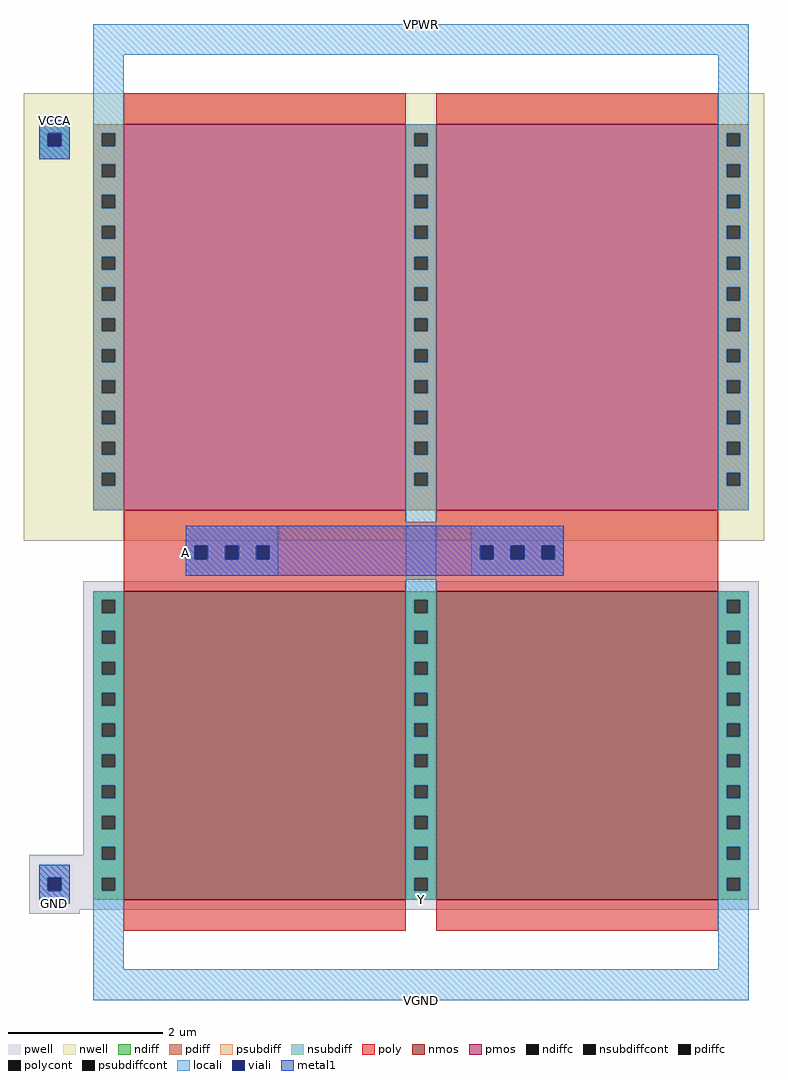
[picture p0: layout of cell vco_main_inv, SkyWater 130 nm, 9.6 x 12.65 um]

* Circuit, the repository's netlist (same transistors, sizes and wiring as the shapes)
* NGSPICE file created from vco_main_inv.ext - technology: sky130A

.subckt vco_main_inv A VPWR VGND Y VCCA GND
X0 VPWR A Y VCCA sky130_fd_pr__pfet_01v8 ad=2 pd=10.8 as=1 ps=5.4 w=5 l=3.65 M=2
X1 Y A VGND GND sky130_fd_pr__nfet_01v8 ad=0.8 pd=4.4 as=1.6 ps=8.8 w=4 l=3.65 M=2
.ends

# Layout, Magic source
magic
tech sky130A
magscale 1 2
<< nwell >>
rect -260 -80 1660 1080
<< pwell >>
rect -106 -894 1646 -184
rect -246 -1036 1646 -894
rect -246 -1046 -114 -1036
<< nmos >>
rect 0 -1010 730 -210
rect 810 -1010 1540 -210
<< pmos >>
rect 0 0 730 1000
rect 810 0 1540 1000
<< ndiff >>
rect -80 -233 0 -210
rect -80 -267 -57 -233
rect -23 -267 0 -233
rect -80 -313 0 -267
rect -80 -347 -57 -313
rect -23 -347 0 -313
rect -80 -393 0 -347
rect -80 -427 -57 -393
rect -23 -427 0 -393
rect -80 -473 0 -427
rect -80 -507 -57 -473
rect -23 -507 0 -473
rect -80 -553 0 -507
rect -80 -587 -57 -553
rect -23 -587 0 -553
rect -80 -633 0 -587
rect -80 -667 -57 -633
rect -23 -667 0 -633
rect -80 -713 0 -667
rect -80 -747 -57 -713
rect -23 -747 0 -713
rect -80 -793 0 -747
rect -80 -827 -57 -793
rect -23 -827 0 -793
rect -80 -873 0 -827
rect -80 -907 -57 -873
rect -23 -907 0 -873
rect -80 -953 0 -907
rect -80 -987 -57 -953
rect -23 -987 0 -953
rect -80 -1010 0 -987
rect 730 -233 810 -210
rect 730 -267 753 -233
rect 787 -267 810 -233
rect 730 -313 810 -267
rect 730 -347 753 -313
rect 787 -347 810 -313
rect 730 -393 810 -347
rect 730 -427 753 -393
rect 787 -427 810 -393
rect 730 -473 810 -427
rect 730 -507 753 -473
rect 787 -507 810 -473
rect 730 -553 810 -507
rect 730 -587 753 -553
rect 787 -587 810 -553
rect 730 -633 810 -587
rect 730 -667 753 -633
rect 787 -667 810 -633
rect 730 -713 810 -667
rect 730 -747 753 -713
rect 787 -747 810 -713
rect 730 -793 810 -747
rect 730 -827 753 -793
rect 787 -827 810 -793
rect 730 -873 810 -827
rect 730 -907 753 -873
rect 787 -907 810 -873
rect 730 -953 810 -907
rect 730 -987 753 -953
rect 787 -987 810 -953
rect 730 -1010 810 -987
rect 1540 -233 1620 -210
rect 1540 -267 1563 -233
rect 1597 -267 1620 -233
rect 1540 -313 1620 -267
rect 1540 -347 1563 -313
rect 1597 -347 1620 -313
rect 1540 -393 1620 -347
rect 1540 -427 1563 -393
rect 1597 -427 1620 -393
rect 1540 -473 1620 -427
rect 1540 -507 1563 -473
rect 1597 -507 1620 -473
rect 1540 -553 1620 -507
rect 1540 -587 1563 -553
rect 1597 -587 1620 -553
rect 1540 -633 1620 -587
rect 1540 -667 1563 -633
rect 1597 -667 1620 -633
rect 1540 -713 1620 -667
rect 1540 -747 1563 -713
rect 1597 -747 1620 -713
rect 1540 -793 1620 -747
rect 1540 -827 1563 -793
rect 1597 -827 1620 -793
rect 1540 -873 1620 -827
rect 1540 -907 1563 -873
rect 1597 -907 1620 -873
rect 1540 -953 1620 -907
rect 1540 -987 1563 -953
rect 1597 -987 1620 -953
rect 1540 -1010 1620 -987
<< pdiff >>
rect -80 977 0 1000
rect -80 943 -57 977
rect -23 943 0 977
rect -80 897 0 943
rect -80 863 -57 897
rect -23 863 0 897
rect -80 817 0 863
rect -80 783 -57 817
rect -23 783 0 817
rect -80 737 0 783
rect -80 703 -57 737
rect -23 703 0 737
rect -80 657 0 703
rect -80 623 -57 657
rect -23 623 0 657
rect -80 577 0 623
rect -80 543 -57 577
rect -23 543 0 577
rect -80 497 0 543
rect -80 463 -57 497
rect -23 463 0 497
rect -80 417 0 463
rect -80 383 -57 417
rect -23 383 0 417
rect -80 337 0 383
rect -80 303 -57 337
rect -23 303 0 337
rect -80 257 0 303
rect -80 223 -57 257
rect -23 223 0 257
rect -80 177 0 223
rect -80 143 -57 177
rect -23 143 0 177
rect -80 97 0 143
rect -80 63 -57 97
rect -23 63 0 97
rect -80 0 0 63
rect 730 977 810 1000
rect 730 943 753 977
rect 787 943 810 977
rect 730 897 810 943
rect 730 863 753 897
rect 787 863 810 897
rect 730 817 810 863
rect 730 783 753 817
rect 787 783 810 817
rect 730 737 810 783
rect 730 703 753 737
rect 787 703 810 737
rect 730 657 810 703
rect 730 623 753 657
rect 787 623 810 657
rect 730 577 810 623
rect 730 543 753 577
rect 787 543 810 577
rect 730 497 810 543
rect 730 463 753 497
rect 787 463 810 497
rect 730 417 810 463
rect 730 383 753 417
rect 787 383 810 417
rect 730 337 810 383
rect 730 303 753 337
rect 787 303 810 337
rect 730 257 810 303
rect 730 223 753 257
rect 787 223 810 257
rect 730 177 810 223
rect 730 143 753 177
rect 787 143 810 177
rect 730 97 810 143
rect 730 63 753 97
rect 787 63 810 97
rect 730 0 810 63
rect 1540 977 1620 1000
rect 1540 943 1563 977
rect 1597 943 1620 977
rect 1540 897 1620 943
rect 1540 863 1563 897
rect 1597 863 1620 897
rect 1540 817 1620 863
rect 1540 783 1563 817
rect 1597 783 1620 817
rect 1540 737 1620 783
rect 1540 703 1563 737
rect 1597 703 1620 737
rect 1540 657 1620 703
rect 1540 623 1563 657
rect 1597 623 1620 657
rect 1540 577 1620 623
rect 1540 543 1563 577
rect 1597 543 1620 577
rect 1540 497 1620 543
rect 1540 463 1563 497
rect 1597 463 1620 497
rect 1540 417 1620 463
rect 1540 383 1563 417
rect 1597 383 1620 417
rect 1540 337 1620 383
rect 1540 303 1563 337
rect 1597 303 1620 337
rect 1540 257 1620 303
rect 1540 223 1563 257
rect 1597 223 1620 257
rect 1540 177 1620 223
rect 1540 143 1563 177
rect 1597 143 1620 177
rect 1540 97 1620 143
rect 1540 63 1563 97
rect 1597 63 1620 97
rect 1540 0 1620 63
<< ndiffc >>
rect -57 -267 -23 -233
rect -57 -347 -23 -313
rect -57 -427 -23 -393
rect -57 -507 -23 -473
rect -57 -587 -23 -553
rect -57 -667 -23 -633
rect -57 -747 -23 -713
rect -57 -827 -23 -793
rect -57 -907 -23 -873
rect -57 -987 -23 -953
rect 753 -267 787 -233
rect 753 -347 787 -313
rect 753 -427 787 -393
rect 753 -507 787 -473
rect 753 -587 787 -553
rect 753 -667 787 -633
rect 753 -747 787 -713
rect 753 -827 787 -793
rect 753 -907 787 -873
rect 753 -987 787 -953
rect 1563 -267 1597 -233
rect 1563 -347 1597 -313
rect 1563 -427 1597 -393
rect 1563 -507 1597 -473
rect 1563 -587 1597 -553
rect 1563 -667 1597 -633
rect 1563 -747 1597 -713
rect 1563 -827 1597 -793
rect 1563 -907 1597 -873
rect 1563 -987 1597 -953
<< pdiffc >>
rect -57 943 -23 977
rect -57 863 -23 897
rect -57 783 -23 817
rect -57 703 -23 737
rect -57 623 -23 657
rect -57 543 -23 577
rect -57 463 -23 497
rect -57 383 -23 417
rect -57 303 -23 337
rect -57 223 -23 257
rect -57 143 -23 177
rect -57 63 -23 97
rect 753 943 787 977
rect 753 863 787 897
rect 753 783 787 817
rect 753 703 787 737
rect 753 623 787 657
rect 753 543 787 577
rect 753 463 787 497
rect 753 383 787 417
rect 753 303 787 337
rect 753 223 787 257
rect 753 143 787 177
rect 753 63 787 97
rect 1563 943 1597 977
rect 1563 863 1597 897
rect 1563 783 1597 817
rect 1563 703 1597 737
rect 1563 623 1597 657
rect 1563 543 1597 577
rect 1563 463 1597 497
rect 1563 383 1597 417
rect 1563 303 1597 337
rect 1563 223 1597 257
rect 1563 143 1597 177
rect 1563 63 1597 97
<< psubdiff >>
rect -220 -953 -140 -920
rect -220 -987 -197 -953
rect -163 -987 -140 -953
rect -220 -1020 -140 -987
<< nsubdiff >>
rect -220 977 -140 1010
rect -220 943 -197 977
rect -163 943 -140 977
rect -220 910 -140 943
<< psubdiffcont >>
rect -197 -987 -163 -953
<< nsubdiffcont >>
rect -197 943 -163 977
<< poly >>
rect 0 1000 730 1080
rect 810 1000 1540 1080
rect 0 -30 730 0
rect 810 -30 1540 0
rect 0 -93 1540 -30
rect 0 -127 183 -93
rect 217 -127 263 -93
rect 297 -127 343 -93
rect 377 -127 923 -93
rect 957 -127 1003 -93
rect 1037 -127 1083 -93
rect 1117 -127 1540 -93
rect 0 -180 1540 -127
rect 0 -210 730 -180
rect 810 -210 1540 -180
rect 0 -1090 730 -1010
rect 810 -1090 1540 -1010
<< polycont >>
rect 183 -127 217 -93
rect 263 -127 297 -93
rect 343 -127 377 -93
rect 923 -127 957 -93
rect 1003 -127 1037 -93
rect 1083 -127 1117 -93
<< locali >>
rect -80 1180 1620 1260
rect -220 977 -140 1010
rect -220 943 -197 977
rect -163 943 -140 977
rect -220 910 -140 943
rect -80 977 0 1180
rect -80 943 -57 977
rect -23 943 0 977
rect -80 897 0 943
rect -80 863 -57 897
rect -23 863 0 897
rect -80 817 0 863
rect -80 783 -57 817
rect -23 783 0 817
rect -80 737 0 783
rect -80 703 -57 737
rect -23 703 0 737
rect -80 657 0 703
rect -80 623 -57 657
rect -23 623 0 657
rect -80 577 0 623
rect -80 543 -57 577
rect -23 543 0 577
rect -80 497 0 543
rect -80 463 -57 497
rect -23 463 0 497
rect -80 417 0 463
rect -80 383 -57 417
rect -23 383 0 417
rect -80 337 0 383
rect -80 303 -57 337
rect -23 303 0 337
rect -80 257 0 303
rect -80 223 -57 257
rect -23 223 0 257
rect -80 177 0 223
rect -80 143 -57 177
rect -23 143 0 177
rect -80 97 0 143
rect -80 63 -57 97
rect -23 63 0 97
rect -80 0 0 63
rect 730 977 810 1000
rect 730 943 753 977
rect 787 943 810 977
rect 730 897 810 943
rect 730 863 753 897
rect 787 863 810 897
rect 730 817 810 863
rect 730 783 753 817
rect 787 783 810 817
rect 730 737 810 783
rect 730 703 753 737
rect 787 703 810 737
rect 730 657 810 703
rect 730 623 753 657
rect 787 623 810 657
rect 730 577 810 623
rect 730 543 753 577
rect 787 543 810 577
rect 730 497 810 543
rect 730 463 753 497
rect 787 463 810 497
rect 730 417 810 463
rect 730 383 753 417
rect 787 383 810 417
rect 730 337 810 383
rect 730 303 753 337
rect 787 303 810 337
rect 730 257 810 303
rect 730 223 753 257
rect 787 223 810 257
rect 730 177 810 223
rect 730 143 753 177
rect 787 143 810 177
rect 730 97 810 143
rect 730 63 753 97
rect 787 63 810 97
rect 160 -93 400 -40
rect 160 -127 183 -93
rect 217 -127 263 -93
rect 297 -127 343 -93
rect 377 -127 400 -93
rect 160 -170 400 -127
rect -80 -233 0 -210
rect -80 -267 -57 -233
rect -23 -267 0 -233
rect -80 -313 0 -267
rect -80 -347 -57 -313
rect -23 -347 0 -313
rect -80 -393 0 -347
rect -80 -427 -57 -393
rect -23 -427 0 -393
rect -80 -473 0 -427
rect -80 -507 -57 -473
rect -23 -507 0 -473
rect -80 -553 0 -507
rect -80 -587 -57 -553
rect -23 -587 0 -553
rect -80 -633 0 -587
rect -80 -667 -57 -633
rect -23 -667 0 -633
rect -80 -713 0 -667
rect -80 -747 -57 -713
rect -23 -747 0 -713
rect -80 -793 0 -747
rect -80 -827 -57 -793
rect -23 -827 0 -793
rect -80 -873 0 -827
rect -80 -907 -57 -873
rect -23 -907 0 -873
rect -220 -953 -140 -920
rect -220 -987 -197 -953
rect -163 -987 -140 -953
rect -220 -1020 -140 -987
rect -80 -953 0 -907
rect -80 -987 -57 -953
rect -23 -987 0 -953
rect -80 -1190 0 -987
rect 730 -233 810 63
rect 1540 977 1620 1180
rect 1540 943 1563 977
rect 1597 943 1620 977
rect 1540 897 1620 943
rect 1540 863 1563 897
rect 1597 863 1620 897
rect 1540 817 1620 863
rect 1540 783 1563 817
rect 1597 783 1620 817
rect 1540 737 1620 783
rect 1540 703 1563 737
rect 1597 703 1620 737
rect 1540 657 1620 703
rect 1540 623 1563 657
rect 1597 623 1620 657
rect 1540 577 1620 623
rect 1540 543 1563 577
rect 1597 543 1620 577
rect 1540 497 1620 543
rect 1540 463 1563 497
rect 1597 463 1620 497
rect 1540 417 1620 463
rect 1540 383 1563 417
rect 1597 383 1620 417
rect 1540 337 1620 383
rect 1540 303 1563 337
rect 1597 303 1620 337
rect 1540 257 1620 303
rect 1540 223 1563 257
rect 1597 223 1620 257
rect 1540 177 1620 223
rect 1540 143 1563 177
rect 1597 143 1620 177
rect 1540 97 1620 143
rect 1540 63 1563 97
rect 1597 63 1620 97
rect 1540 0 1620 63
rect 900 -93 1140 -40
rect 900 -127 923 -93
rect 957 -127 1003 -93
rect 1037 -127 1083 -93
rect 1117 -127 1140 -93
rect 900 -170 1140 -127
rect 730 -267 753 -233
rect 787 -267 810 -233
rect 730 -313 810 -267
rect 730 -347 753 -313
rect 787 -347 810 -313
rect 730 -393 810 -347
rect 730 -427 753 -393
rect 787 -427 810 -393
rect 730 -473 810 -427
rect 730 -507 753 -473
rect 787 -507 810 -473
rect 730 -553 810 -507
rect 730 -587 753 -553
rect 787 -587 810 -553
rect 730 -633 810 -587
rect 730 -667 753 -633
rect 787 -667 810 -633
rect 730 -713 810 -667
rect 730 -747 753 -713
rect 787 -747 810 -713
rect 730 -793 810 -747
rect 730 -827 753 -793
rect 787 -827 810 -793
rect 730 -873 810 -827
rect 730 -907 753 -873
rect 787 -907 810 -873
rect 730 -953 810 -907
rect 730 -987 753 -953
rect 787 -987 810 -953
rect 730 -1010 810 -987
rect 1540 -233 1620 -210
rect 1540 -267 1563 -233
rect 1597 -267 1620 -233
rect 1540 -313 1620 -267
rect 1540 -347 1563 -313
rect 1597 -347 1620 -313
rect 1540 -393 1620 -347
rect 1540 -427 1563 -393
rect 1597 -427 1620 -393
rect 1540 -473 1620 -427
rect 1540 -507 1563 -473
rect 1597 -507 1620 -473
rect 1540 -553 1620 -507
rect 1540 -587 1563 -553
rect 1597 -587 1620 -553
rect 1540 -633 1620 -587
rect 1540 -667 1563 -633
rect 1597 -667 1620 -633
rect 1540 -713 1620 -667
rect 1540 -747 1563 -713
rect 1597 -747 1620 -713
rect 1540 -793 1620 -747
rect 1540 -827 1563 -793
rect 1597 -827 1620 -793
rect 1540 -873 1620 -827
rect 1540 -907 1563 -873
rect 1597 -907 1620 -873
rect 1540 -953 1620 -907
rect 1540 -987 1563 -953
rect 1597 -987 1620 -953
rect 1540 -1190 1620 -987
rect -80 -1270 1620 -1190
<< viali >>
rect -197 943 -163 977
rect 183 -127 217 -93
rect 263 -127 297 -93
rect 343 -127 377 -93
rect -197 -987 -163 -953
rect 923 -127 957 -93
rect 1003 -127 1037 -93
rect 1083 -127 1117 -93
<< metal1 >>
rect -220 977 -140 1010
rect -220 943 -197 977
rect -163 943 -140 977
rect -220 910 -140 943
rect 160 -93 1140 -40
rect 160 -127 183 -93
rect 217 -127 263 -93
rect 297 -127 343 -93
rect 377 -127 923 -93
rect 957 -127 1003 -93
rect 1037 -127 1083 -93
rect 1117 -127 1140 -93
rect 160 -170 1140 -127
rect -220 -953 -140 -920
rect -220 -987 -197 -953
rect -163 -987 -140 -953
rect -220 -1020 -140 -987
<< labels >>
rlabel metal1 s 160 -110 160 -110 4 A
rlabel locali s 770 1260 770 1260 4 VPWR
rlabel locali s 770 -1270 770 -1270 4 VGND
rlabel locali s 770 -1010 770 -1010 4 Y
rlabel metal1 s -180 1010 -180 1010 4 VCCA
rlabel metal1 s -180 -1020 -180 -1020 4 GND
<< end >>
